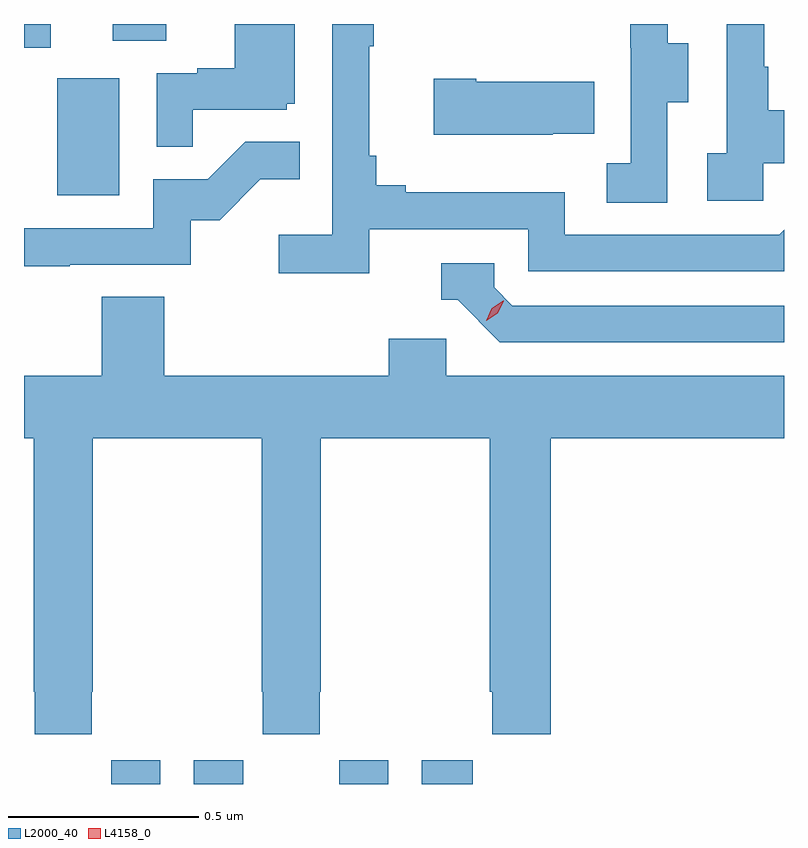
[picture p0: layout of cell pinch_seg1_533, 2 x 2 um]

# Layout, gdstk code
import gdstk
lib = gdstk.Library(unit=1e-6, precision=1e-09)
def R(c, l, rs):  # rectangles x0, y0, x1, y1
    for r in rs: c.add(gdstk.rectangle(r[:2], r[2:], *l))
def P(c, l, *ps):  # polygons
    for p in ps: c.add(gdstk.Polygon(p, *l))
L2000_40 = (2000, 40)
L4158_0 = (4158, 0)

pinch_seg1_533 = lib.new_cell('pinch_seg1_533')
R(pinch_seg1_533, L2000_40, [(1031.484,534.838,1031.614,534.901), (1031.702,534.838,1031.832,534.901), (1032.084,534.838,1032.214,534.901), (1032.302,534.838,1032.436,534.901), (1031.342,536.388,1031.506,536.695), (1031.255,536.775,1031.326,536.838), (1031.489,536.794,1031.629,536.838)])
P(pinch_seg1_533, L2000_40, [(1032.164,536.298),(1032.582,536.298),(1032.582,536.187),(1033.255,536.187),(1033.255,536.296),(1033.242,536.283),(1032.678,536.283),(1032.678,536.395),(1032.259,536.395),(1032.259,536.414),(1032.182,536.414),(1032.182,536.491),(1032.163,536.491),(1032.163,536.779),(1032.175,536.779),(1032.175,536.838),(1032.066,536.838),(1032.066,536.284),(1031.925,536.284),(1031.925,536.182),(1032.164,536.182)],
  [(1033.2,536.471),(1033.255,536.471),(1033.255,536.611),(1033.213,536.611),(1033.213,536.726),(1033.203,536.726),(1033.203,536.838),(1033.104,536.838),(1033.104,536.498),(1033.053,536.498),(1033.053,536.373),(1033.2,536.373)],
  [(1031.699,536.613),(1031.946,536.613),(1031.946,536.628),(1031.968,536.628),(1031.968,536.838),(1031.81,536.838),(1031.81,536.722),(1031.711,536.722),(1031.711,536.709),(1031.604,536.709),(1031.604,536.515),(1031.699,536.515)],
  [(1032.948,536.632),(1033.003,536.632),(1033.003,536.787),(1032.949,536.787),(1032.949,536.838),(1032.851,536.838),(1032.851,536.775),(1032.852,536.775),(1032.852,536.471),(1032.789,536.471),(1032.789,536.368),(1032.948,536.368)],
  [(1032.647,536.549),(1032.755,536.549),(1032.755,536.686),(1032.445,536.686),(1032.445,536.694),(1032.333,536.694),(1032.333,536.546),(1032.647,536.546)],
  [(1031.375,536.205),(1031.694,536.205),(1031.694,536.322),(1031.77,536.322),(1031.877,536.429),(1031.981,536.429),(1031.981,536.528),(1031.837,536.528),(1031.739,536.43),(1031.595,536.43),(1031.595,536.301),(1031.255,536.301),(1031.255,536.2),(1031.375,536.2)],
  [(1033.255,536.097),(1032.54,536.097),(1032.492,536.145),(1032.492,536.208),(1032.353,536.208),(1032.353,536.112),(1032.396,536.112),(1032.507,536.001),(1033.255,536.001)],
  [(1031.433,535.081),(1031.436,535.081),(1031.436,535.748),(1031.881,535.748),(1031.881,535.081),(1031.883,535.081),(1031.883,534.969),(1032.033,534.969),(1032.033,535.081),(1032.036,535.081),(1032.036,535.748),(1032.481,535.748),(1032.481,535.081),(1032.487,535.081),(1032.487,534.969),(1032.641,534.969),(1032.641,535.748),(1033.255,535.748),(1033.255,535.912),(1032.366,535.912),(1032.366,536.01),(1032.215,536.01),(1032.215,535.912),(1031.624,535.912),(1031.624,536.12),(1031.459,536.12),(1031.459,535.912),(1031.255,535.912),(1031.255,535.748),(1031.281,535.748),(1031.281,535.081),(1031.283,535.081),(1031.283,534.969),(1031.433,534.969)])
P(pinch_seg1_533, L4158_0, [(1032.471,536.057),(1032.471,536.057),(1032.486,536.09),(1032.516,536.11),(1032.517,536.11),(1032.517,536.11),(1032.502,536.077),(1032.471,536.057)])

lib.write_gds('pinch_seg1_533.gds')
